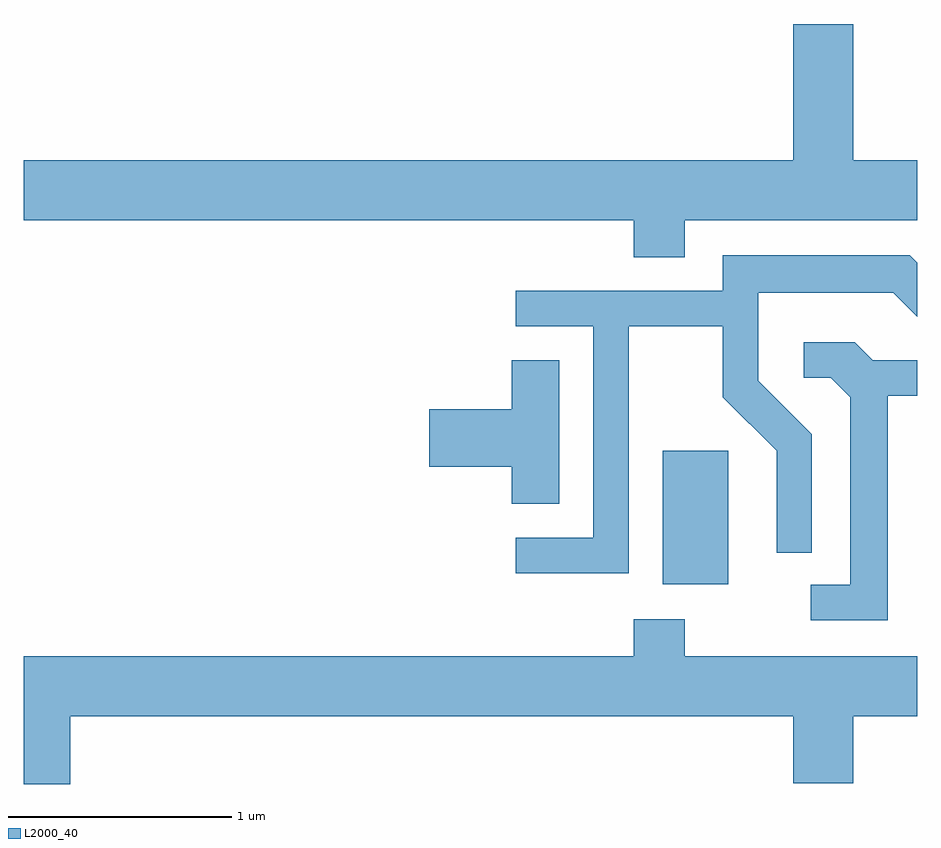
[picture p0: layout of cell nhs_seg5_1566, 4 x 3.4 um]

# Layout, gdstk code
import gdstk
lib = gdstk.Library(unit=1e-6, precision=1e-09)
def R(c, l, rs):  # rectangles x0, y0, x1, y1
    for r in rs: c.add(gdstk.rectangle(r[:2], r[2:], *l))
def P(c, l, *ps):  # polygons
    for p in ps: c.add(gdstk.Polygon(p, *l))
L2000_40 = (2000, 40)

nhs_seg5_1566 = lib.new_cell('nhs_seg5_1566')
R(nhs_seg5_1566, L2000_40, [(234.471,1432.966,234.764,1433.564)])
P(nhs_seg5_1566, L2000_40, [(234.569,1434.596),(235.611,1434.596),(235.611,1434.864),(235.324,1434.864),(235.324,1435.474),(235.056,1435.474),(235.056,1434.864),(231.611,1434.864),(231.611,1434.596),(234.341,1434.596),(234.341,1434.431),(234.569,1434.431)],
  [(234.319,1434.121),(234.741,1434.121),(234.741,1433.804),(234.981,1433.564),(234.981,1433.108),(235.139,1433.108),(235.139,1433.637),(234.899,1433.877),(234.899,1434.271),(235.504,1434.271),(235.611,1434.164),(235.611,1434.405),(235.577,1434.439),(234.741,1434.439),(234.741,1434.279),(233.813,1434.279),(233.813,1434.121),(234.161,1434.121),(234.161,1433.174),(233.813,1433.174),(233.813,1433.016),(234.319,1433.016)],
  [(235.479,1433.811),(235.611,1433.811),(235.611,1433.969),(235.412,1433.969),(235.332,1434.049),(235.103,1434.049),(235.103,1433.891),(235.224,1433.891),(235.311,1433.804),(235.311,1432.964),(235.133,1432.964),(235.133,1432.806),(235.479,1432.806)],
  [(234.009,1433.969),(233.796,1433.969),(233.796,1433.749),(233.426,1433.749),(233.426,1433.491),(233.796,1433.491),(233.796,1433.326),(234.009,1433.326)],
  [(231.819,1432.376),(235.056,1432.376),(235.056,1432.076),(235.324,1432.076),(235.324,1432.376),(235.611,1432.376),(235.611,1432.644),(234.569,1432.644),(234.569,1432.809),(234.341,1432.809),(234.341,1432.644),(231.611,1432.644),(231.611,1432.072),(231.819,1432.072)])

lib.write_gds('nhs_seg5_1566.gds')
